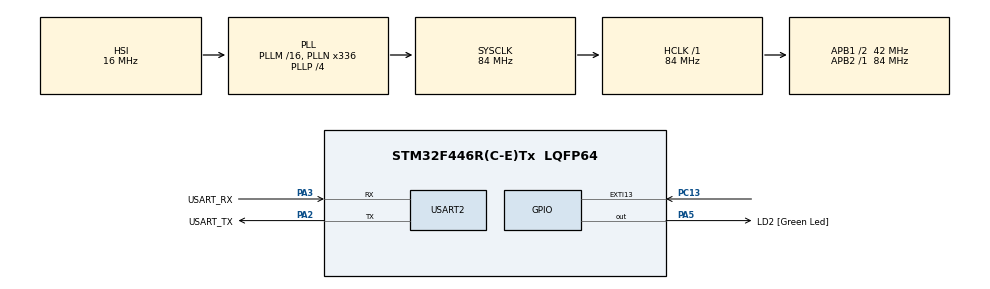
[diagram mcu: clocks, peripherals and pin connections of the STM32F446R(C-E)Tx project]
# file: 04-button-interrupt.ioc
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Mcu.Family=STM32F4
Mcu.Name=STM32F446R(C-E)Tx
Mcu.Package=LQFP64
NVIC.EXTI15_10_IRQn=true\:0\:0\:false\:false\:true\:true\:true\:true
NVIC.PriorityGroup=NVIC_PRIORITYGROUP_0
PA13.GPIO_Label=TMS
PA13.Mode=Serial_Wire
PA13.Signal=SYS_JTMS-SWDIO
PA14.GPIO_Label=TCK
PA14.Mode=Serial_Wire
PA14.Signal=SYS_JTCK-SWCLK
PA2.GPIO_Label=USART_TX
PA2.Mode=Asynchronous
PA2.Signal=USART2_TX
PA3.GPIO_Label=USART_RX
PA3.Mode=Asynchronous
PA3.Signal=USART2_RX
PA5.GPIO_Label=LD2 [Green Led]
PA5.Signal=GPIO_Output
PB3.GPIO_Label=SWO
PB3.Signal=SYS_JTDO-SWO
PC13.GPIO_ModeDefaultEXTI=GPIO_MODE_IT_FALLING
PC13.Signal=GPXTI13
PC14-OSC32_IN.Mode=LSE-External-Oscillator
PC14-OSC32_IN.Signal=RCC_OSC32_IN
PC15-OSC32_OUT.Mode=LSE-External-Oscillator
PC15-OSC32_OUT.Signal=RCC_OSC32_OUT
PH0-OSC_IN.Mode=HSE-External-Oscillator
PH0-OSC_IN.Signal=RCC_OSC_IN
PH1-OSC_OUT.Mode=HSE-External-Oscillator
PH1-OSC_OUT.Signal=RCC_OSC_OUT
ProjectManager.HeapSize=0x200
ProjectManager.StackSize=0x400
ProjectManager.TargetToolchain=STM32CubeIDE
RCC.48MHZClocksFreq_Value=84000000
RCC.AHBFreq_Value=84000000
RCC.APB1CLKDivider=RCC_HCLK_DIV2
RCC.APB1Freq_Value=42000000
RCC.APB1TimFreq_Value=84000000
RCC.APB2Freq_Value=84000000
RCC.APB2TimFreq_Value=84000000
RCC.CortexFreq_Value=84000000
RCC.FLatency-AdvancedSettings=FLASH_LATENCY_2
RCC.HCLKFreq_Value=84000000
RCC.HSE_VALUE=8000000
RCC.HSI_VALUE=16000000
RCC.PLLN=336
RCC.PLLP=RCC_PLLP_DIV4
RCC.SYSCLKFreq_VALUE=84000000
RCC.SYSCLKSource=RCC_SYSCLKSOURCE_PLLCLK
RCC.USBFreq_Value=168000000
RCC.VCOOutputFreq_Value=336000000
USART2.VirtualMode=VM_ASYNC
board=NUCLEO-F446RE

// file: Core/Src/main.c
/* USER CODE BEGIN Header */
/**
  ******************************************************************************
  * @file           : main.c
  * @brief          : Main program body
  ******************************************************************************
  * @attention
  *
  * Copyright (c) 2026 STMicroelectronics.
  * All rights reserved.
  *
  * This software is licensed under terms that can be found in the LICENSE file
  * in the root directory of this software component.
  * If no LICENSE file comes with this software, it is provided AS-IS.
  *
  ******************************************************************************
  */
/* USER CODE END Header */
#include "main.h"

/* USER CODE BEGIN Includes */
#include <stdio.h>
/* USER CODE END Includes */

UART_HandleTypeDef huart2;

/* USER CODE BEGIN PV */
volatile uint32_t counter = 0;
volatile uint32_t last_press_time = 0;
/* USER CODE END PV */

void SystemClock_Config(void);
static void MX_GPIO_Init(void);
static void MX_USART2_UART_Init(void);

int main(void)
{

  /* MCU Configuration--------------------------------------------------------*/

  /* Reset of all peripherals, Initializes the Flash interface and the Systick. */
  HAL_Init();

  /* Configure the system clock */
  SystemClock_Config();

  /* Initialize all configured peripherals */
  MX_GPIO_Init();
  MX_USART2_UART_Init();
  /* USER CODE BEGIN 2 */
  printf("\r\nBoard started...\r\n");
  uint32_t prev_counter = 0;
  /* USER CODE END 2 */

  /* Infinite loop */
  while (1)
  {
    if(counter != prev_counter)
    {
      prev_counter = counter;
      printf("Count: %lu\r\n", prev_counter);
    }
  }
}

void SystemClock_Config(void)
{
  RCC_OscInitTypeDef RCC_OscInitStruct = {0};
  RCC_ClkInitTypeDef RCC_ClkInitStruct = {0};

  /** Configure the main internal regulator output voltage
  */
  __HAL_RCC_PWR_CLK_ENABLE();
  __HAL_PWR_VOLTAGESCALING_CONFIG(PWR_REGULATOR_VOLTAGE_SCALE3);

  /** Initializes the RCC Oscillators according to the specified parameters
  * in the RCC_OscInitTypeDef structure.
  */
  RCC_OscInitStruct.OscillatorType = RCC_OSCILLATORTYPE_HSI;
  RCC_OscInitStruct.HSIState = RCC_HSI_ON;
  RCC_OscInitStruct.HSICalibrationValue = RCC_HSICALIBRATION_DEFAULT;
  RCC_OscInitStruct.PLL.PLLState = RCC_PLL_ON;
  RCC_OscInitStruct.PLL.PLLSource = RCC_PLLSOURCE_HSI;
  RCC_OscInitStruct.PLL.PLLM = 16;
  RCC_OscInitStruct.PLL.PLLN = 336;
  RCC_OscInitStruct.PLL.PLLP = RCC_PLLP_DIV4;
  RCC_OscInitStruct.PLL.PLLQ = 2;
  RCC_OscInitStruct.PLL.PLLR = 2;
  if (HAL_RCC_OscConfig(&RCC_OscInitStruct) != HAL_OK)
  {
    Error_Handler();
  }

  /** Initializes the CPU, AHB and APB buses clocks
  */
  RCC_ClkInitStruct.ClockType = RCC_CLOCKTYPE_HCLK|RCC_CLOCKTYPE_SYSCLK
                              |RCC_CLOCKTYPE_PCLK1|RCC_CLOCKTYPE_PCLK2;
  RCC_ClkInitStruct.SYSCLKSource = RCC_SYSCLKSOURCE_PLLCLK;
  RCC_ClkInitStruct.AHBCLKDivider = RCC_SYSCLK_DIV1;
  RCC_ClkInitStruct.APB1CLKDivider = RCC_HCLK_DIV2;
  RCC_ClkInitStruct.APB2CLKDivider = RCC_HCLK_DIV1;

  if (HAL_RCC_ClockConfig(&RCC_ClkInitStruct, FLASH_LATENCY_2) != HAL_OK)
  {
    Error_Handler();
  }
}

static void MX_USART2_UART_Init(void)
{

  huart2.Instance = USART2;
  huart2.Init.BaudRate = 115200;
  huart2.Init.WordLength = UART_WORDLENGTH_8B;
  huart2.Init.StopBits = UART_STOPBITS_1;
  huart2.Init.Parity = UART_PARITY_NONE;
  huart2.Init.Mode = UART_MODE_TX_RX;
  huart2.Init.HwFlowCtl = UART_HWCONTROL_NONE;
  huart2.Init.OverSampling = UART_OVERSAMPLING_16;
  if (HAL_UART_Init(&huart2) != HAL_OK)
  {
    Error_Handler();
  }

}

static void MX_GPIO_Init(void)
{
  GPIO_InitTypeDef GPIO_InitStruct = {0};

  /* GPIO Ports Clock Enable */
  __HAL_RCC_GPIOC_CLK_ENABLE();
  __HAL_RCC_GPIOH_CLK_ENABLE();
  __HAL_RCC_GPIOA_CLK_ENABLE();
  __HAL_RCC_GPIOB_CLK_ENABLE();

  /*Configure GPIO pin Output Level */
  HAL_GPIO_WritePin(LD2_GPIO_Port, LD2_Pin, GPIO_PIN_RESET);

  /*Configure GPIO pin : PC13 */
  GPIO_InitStruct.Pin = GPIO_PIN_13;
  GPIO_InitStruct.Mode = GPIO_MODE_IT_FALLING;
  GPIO_InitStruct.Pull = GPIO_NOPULL;
  HAL_GPIO_Init(GPIOC, &GPIO_InitStruct);

  /*Configure GPIO pin : LD2_Pin */
  GPIO_InitStruct.Pin = LD2_Pin;
  GPIO_InitStruct.Mode = GPIO_MODE_OUTPUT_PP;
  GPIO_InitStruct.Pull = GPIO_NOPULL;
  GPIO_InitStruct.Speed = GPIO_SPEED_FREQ_LOW;
  HAL_GPIO_Init(LD2_GPIO_Port, &GPIO_InitStruct);

  /* EXTI interrupt init*/
  HAL_NVIC_SetPriority(EXTI15_10_IRQn, 0, 0);
  HAL_NVIC_EnableIRQ(EXTI15_10_IRQn);

}

/* USER CODE BEGIN 4 */
void HAL_GPIO_EXTI_Callback(uint16_t GPIO_Pin)
{
  if(GPIO_Pin == GPIO_PIN_13)
  {
	uint32_t curr_time = HAL_GetTick();

	if(curr_time - last_press_time >= 50)  // ignore edges within 50 ms
	{
	  last_press_time = curr_time;
	  HAL_GPIO_TogglePin(LD2_GPIO_Port, LD2_Pin);
	  counter++;
	}
  }
}

int _write(int file, char *ptr, int len)
{
  HAL_UART_Transmit(&huart2, (uint8_t *)ptr, len, HAL_MAX_DELAY);
  return len;
}
/* USER CODE END 4 */

void Error_Handler(void)
{
  __disable_irq();
  while (1)
  {
  }
}
